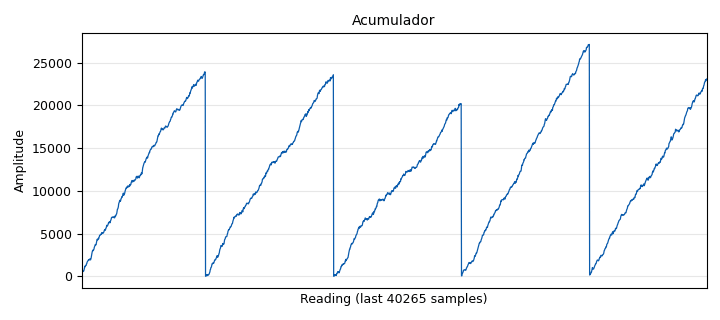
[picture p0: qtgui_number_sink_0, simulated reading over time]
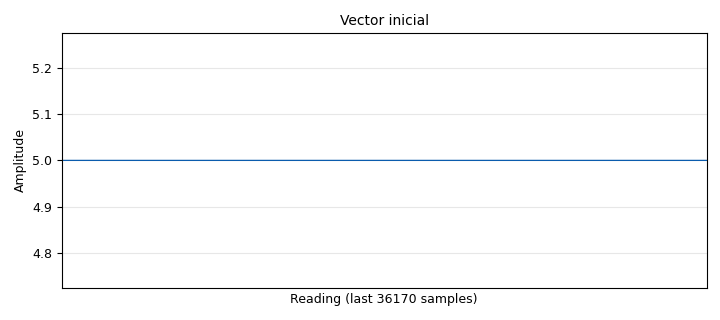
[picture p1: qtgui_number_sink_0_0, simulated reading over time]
options:
  parameters:
    generate_options: qt_gui
    id: practica1b1
    output_language: python
    title: Not titled yet
  states: {}

blocks:
- name: samp_rate
  id: variable
  parameters:
    value: '32000'
  states: {}
- name: analog_noise_source_x_0
  id: analog_noise_source_x
  parameters:
    amp: '20'
    noise_type: analog.GR_GAUSSIAN
    seed: '0'
    type: float
  states: {}
- name: blocks_add_xx_0
  id: blocks_add_xx
  parameters:
    type: float
  states: {}
- name: blocks_vector_source_x_0
  id: blocks_vector_source_x
  parameters:
    repeat: 'True'
    type: float
    vector: (5, 2, 2)
  states: {}
- name: epy_block_0
  id: epy_block
  parameters:
    _source_code: |
      import numpy as np
      from gnuradio import gr

      class blk (gr. sync_block ):

      	def __init__ ( self ) : # only default arguments here

      	    gr. sync_block . __init__ (
      		 self ,
      	         name ='e_Acum ', # will show up in GRC
      		 in_sig =[ np. float32 ],
      		 out_sig =[ np. float32 ]
                  )
      	def work (self , input_items , output_items ):
      	    x = input_items [0] # Senial de entrada .
      	    y0 = output_items [0] # Senial acumulada
      	    y0 [:] = np. cumsum (x)
      	    return len (y0)
  states: {}
- name: epy_block_1
  id: epy_block
  parameters:
    _source_code: |
      import numpy as np
      from gnuradio import gr

      class blk (gr. sync_block ):
          def __init__ ( self ) : # only default arguments here
              gr. sync_block . __init__ (
                   self ,
                   name ='e_Diff ', # will show up in GRC
                   in_sig =[ np. float32 ],
                   out_sig =[ np. float32 ]     
              
              )
              self . acum_anterior = 0
          def work (self , input_items , output_items ):
              x = input_items [0] # Senial de entrada .
              y0 = output_items [0] # Senial acumulada diferencial
              N = len (x)
              diff = np. cumsum (x) - self . acum_anterior
              self . acum_anterior = diff [N -1]
              y0 [:] = diff
              return len (y0)
  states: {}
- name: epy_block_2
  id: epy_block
  parameters:
    _source_code: |
      """
      Embedded Python Blocks:

      Each time this file is saved, GRC will instantiate the first class it finds
      to get ports and parameters of your block. The arguments to __init__ will
      be the parameters. All of them are required to have default values!
      """

      import numpy as np
      from gnuradio import gr

      class blk(gr.sync_block):
          def __init__(self): 
              gr.sync_block.__init__(
                  self,
                  name='e_Average', # se mostrará en GRC
                  in_sig=[np.float32],
                  out_sig=[np.float32]
              )

          def work(self, input_items, output_items):
              x = input_items[0] # Señal de entrada.
              y0 = output_items[0] # Señal acumulada

      # Calcula la suma acumulativa y luego divide por el índice + 1 para el promedio
              cumsum_x = np.cumsum(x)
              y0[:] = cumsum_x / (np.arange(len(x)) + 1)


              return len(output_items[0]) # Retorna el tamaño del buffer de salida
  states: {}
- name: qtgui_number_sink_0
  id: qtgui_number_sink
  parameters:
    alias: Acumulador
    graph_type: qtgui.NUM_GRAPH_HORIZ
    max: '10000'
    min: '-10000'
    name: '"Acumulador"'
    type: float
  states: {}
- name: qtgui_number_sink_0_0
  id: qtgui_number_sink
  parameters:
    graph_type: qtgui.NUM_GRAPH_HORIZ
    max: '10000'
    min: '-10000'
    name: '"Vector inicial"'
    type: float
  states: {}
- name: qtgui_number_sink_0_1
  id: qtgui_number_sink
  parameters:
    graph_type: qtgui.NUM_GRAPH_HORIZ
    max: '10000'
    min: '-10000'
    name: '"Vector con ruido"'
    type: float
  states: {}
- name: qtgui_number_sink_1
  id: qtgui_number_sink
  parameters:
    alias: Promedio
    graph_type: qtgui.NUM_GRAPH_HORIZ
    max: '10000'
    min: '-10000'
    name: '"Promedio"'
    type: float
  states: {}
- name: qtgui_number_sink_2
  id: qtgui_number_sink
  parameters:
    alias: Diferenciador
    graph_type: qtgui.NUM_GRAPH_HORIZ
    max: '10000'
    min: '-10000'
    name: '"Diferenciador"'
    type: float
  states: {}

connections:
- [analog_noise_source_x_0, '0', blocks_add_xx_0, '1']
- [blocks_add_xx_0, '0', epy_block_0, '0']
- [blocks_add_xx_0, '0', epy_block_1, '0']
- [blocks_add_xx_0, '0', epy_block_2, '0']
- [blocks_add_xx_0, '0', qtgui_number_sink_0_1, '0']
- [blocks_vector_source_x_0, '0', blocks_add_xx_0, '0']
- [blocks_vector_source_x_0, '0', qtgui_number_sink_0_0, '0']
- [epy_block_0, '0', qtgui_number_sink_0, '0']
- [epy_block_1, '0', qtgui_number_sink_2, '0']
- [epy_block_2, '0', qtgui_number_sink_1, '0']

metadata:
  file_format: 1
  grc_version: 3.10.9.2
